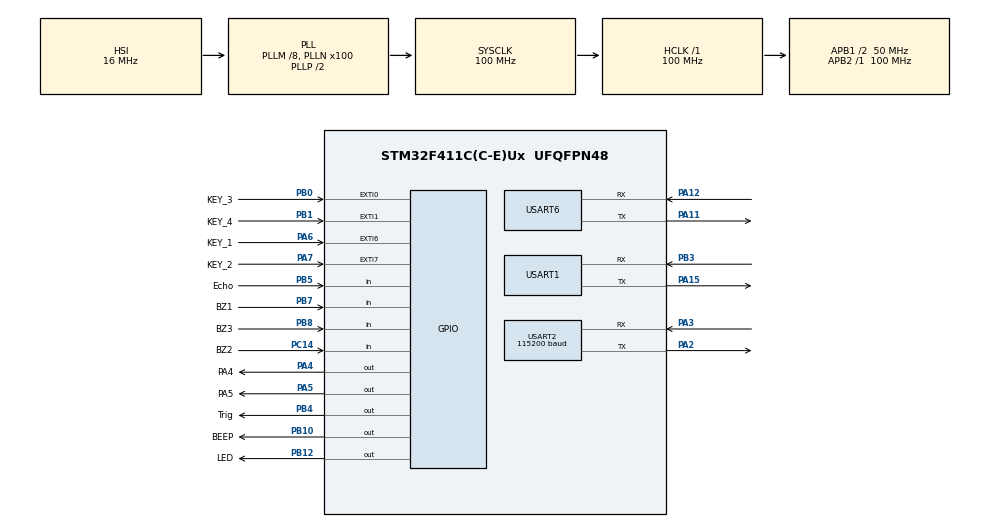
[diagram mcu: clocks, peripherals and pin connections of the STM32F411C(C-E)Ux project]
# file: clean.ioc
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Dma.Request0=USART2_RX
Dma.USART2_RX.0.Direction=DMA_PERIPH_TO_MEMORY
Dma.USART2_RX.0.FIFOMode=DMA_FIFOMODE_DISABLE
Dma.USART2_RX.0.Instance=DMA1_Stream5
Dma.USART2_RX.0.MemDataAlignment=DMA_MDATAALIGN_BYTE
Dma.USART2_RX.0.MemInc=DMA_MINC_ENABLE
Dma.USART2_RX.0.Mode=DMA_NORMAL
Dma.USART2_RX.0.PeriphDataAlignment=DMA_PDATAALIGN_BYTE
Dma.USART2_RX.0.PeriphInc=DMA_PINC_DISABLE
Dma.USART2_RX.0.Priority=DMA_PRIORITY_LOW
Mcu.Family=STM32F4
Mcu.Name=STM32F411C(C-E)Ux
Mcu.Package=UFQFPN48
NVIC.DMA1_Stream5_IRQn=true\:0\:0\:false\:false\:true\:false\:true\:true
NVIC.EXTI0_IRQn=true\:1\:0\:true\:false\:true\:true\:true\:true
NVIC.EXTI1_IRQn=true\:1\:0\:true\:false\:true\:true\:true\:true
NVIC.EXTI9_5_IRQn=true\:1\:0\:true\:false\:true\:true\:true\:true
NVIC.PriorityGroup=NVIC_PRIORITYGROUP_4
NVIC.TIM2_IRQn=true\:0\:0\:false\:false\:true\:true\:true\:true
NVIC.TIM3_IRQn=true\:0\:0\:false\:false\:true\:true\:true\:true
NVIC.USART1_IRQn=true\:0\:0\:false\:false\:true\:true\:true\:true
NVIC.USART2_IRQn=true\:0\:0\:false\:false\:true\:true\:true\:true
NVIC.USART6_IRQn=true\:0\:0\:false\:false\:true\:true\:true\:true
PA11.Mode=Asynchronous
PA11.Signal=USART6_TX
PA12.Mode=Asynchronous
PA12.Signal=USART6_RX
PA13.Mode=Serial_Wire
PA13.Signal=SYS_JTMS-SWDIO
PA14.Mode=Serial_Wire
PA14.Signal=SYS_JTCK-SWCLK
PA15.Mode=Asynchronous
PA15.Signal=USART1_TX
PA2.Mode=Asynchronous
PA2.Signal=USART2_TX
PA3.Mode=Asynchronous
PA3.Signal=USART2_RX
PA4.GPIO_Label=PA4
PA4.GPIO_ModeDefaultOutputPP=GPIO_MODE_OUTPUT_OD
PA4.GPIO_PuPd=GPIO_NOPULL
PA4.Signal=GPIO_Output
PA5.GPIO_Label=PA5
PA5.GPIO_ModeDefaultOutputPP=GPIO_MODE_OUTPUT_OD
PA5.GPIO_PuPd=GPIO_NOPULL
PA5.Signal=GPIO_Output
PA6.GPIO_Label=KEY_1
PA6.GPIO_ModeDefaultEXTI=GPIO_MODE_IT_RISING
PA6.GPIO_PuPd=GPIO_PULLDOWN
PA6.Signal=GPXTI6
PA7.GPIO_Label=KEY_2
PA7.GPIO_ModeDefaultEXTI=GPIO_MODE_IT_RISING
PA7.GPIO_PuPd=GPIO_PULLDOWN
PA7.Signal=GPXTI7
PB0.GPIO_Label=KEY_3
PB0.GPIO_ModeDefaultEXTI=GPIO_MODE_IT_RISING
PB0.GPIO_PuPd=GPIO_PULLDOWN
PB0.Signal=GPXTI0
PB1.GPIO_Label=KEY_4
PB1.GPIO_ModeDefaultEXTI=GPIO_MODE_IT_RISING
PB1.GPIO_PuPd=GPIO_PULLDOWN
PB1.Signal=GPXTI1
PB10.GPIO_Label=BEEP
PB10.GPIO_PuPd=GPIO_PULLDOWN
PB10.Signal=GPIO_Output
PB12.GPIO_Label=LED
PB12.Signal=GPIO_Output
PB3.Mode=Asynchronous
PB3.Signal=USART1_RX
PB4.GPIO_Label=Trig
PB4.Signal=GPIO_Output
PB5.GPIO_Label=Echo
PB5.Signal=GPIO_Input
PB7.GPIO_Label=BZ1
PB7.GPIO_PuPd=GPIO_PULLUP
PB7.Signal=GPIO_Input
PB8.GPIO_Label=BZ3
PB8.GPIO_PuPd=GPIO_PULLUP
PB8.Signal=GPIO_Input
PC14-OSC32_IN.GPIO_Label=BZ2
PC14-OSC32_IN.GPIO_PuPd=GPIO_PULLUP
PC14-OSC32_IN.Signal=GPIO_Input
PH0\ -\ OSC_IN.Mode=HSE-External-Oscillator
PH0\ -\ OSC_IN.Signal=RCC_OSC_IN
PH1\ -\ OSC_OUT.Mode=HSE-External-Oscillator
PH1\ -\ OSC_OUT.Signal=RCC_OSC_OUT
ProjectManager.HeapSize=0x200
ProjectManager.StackSize=0x400
ProjectManager.TargetToolchain=MDK-ARM V5.32
RCC.48MHZClocksFreq_Value=50000000
RCC.AHBFreq_Value=100000000
RCC.APB1CLKDivider=RCC_HCLK_DIV2
RCC.APB1Freq_Value=50000000
RCC.APB1TimFreq_Value=100000000
RCC.APB2Freq_Value=100000000
RCC.APB2TimFreq_Value=100000000
RCC.CortexFreq_Value=100000000
RCC.HCLKFreq_Value=100000000
RCC.HSE_VALUE=25000000
RCC.HSI_VALUE=16000000
RCC.LSE_VALUE=32768
RCC.PLLM=8
RCC.PLLN=100
RCC.SYSCLKFreq_VALUE=100000000
RCC.SYSCLKSource=RCC_SYSCLKSOURCE_PLLCLK
RCC.VCOOutputFreq_Value=200000000
TIM2.Period=9999
TIM2.Prescaler=9
TIM3.Period=9999
TIM3.Prescaler=9
USART1.VirtualMode=VM_ASYNC
USART2.BaudRate=115200
USART2.VirtualMode=VM_ASYNC
USART6.VirtualMode=VM_ASYNC
VP_TIM2_VS_ClockSourceINT.Mode=Internal
VP_TIM3_VS_ClockSourceINT.Mode=Internal
board=custom

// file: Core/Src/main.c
/* USER CODE BEGIN Header */
/**
  ******************************************************************************
  * @file           : main.c
  * @brief          : Main program body
  ******************************************************************************
  * @attention
  *
  * Copyright (c) 2025 STMicroelectronics.
  * All rights reserved.
  *
  * This software is licensed under terms that can be found in the LICENSE file
  * in the root directory of this software component.
  * If no LICENSE file comes with this software, it is provided AS-IS.
  *
  ******************************************************************************
  */
/* USER CODE END Header */
#include "main.h"
#include "dma.h"
#include "tim.h"
#include "usart.h"
#include "gpio.h"

/* USER CODE BEGIN Includes */
#include "debug.h"
#include "Imu.h"
#include "key.h"
#include "pid.h"
#include "OLED.h"
#include "Buzzer.h"
#include "distance.h"
#include "usart_2.h"
#include "math.h"
/* USER CODE END Includes */

/* USER CODE BEGIN PTD */
float Kp = 0.7;  // 比例增益
float Kd = 0.8;  // 微分增益
char RxBuffer[200],Rxcouter;
uint8_t Res;
int Usart1_Rx_Flag=0;
int Flag_ly=0;
int stop=0;
int index_1ms=0;
static uint8_t last_state_BZ2 = 1;  // 假设初始状态为高电平
static uint8_t last_state_BZ3 = 1;
static uint8_t last_state_BZ1 = 1;
void PD_update(int target_left, int target_right,
               float actual_left, float actual_right,
               float dt,
               float *output_left, float *output_right) ;
/* USER CODE END PTD */

void SystemClock_Config(void);

/* USER CODE BEGIN 0 */
void HAL_UART_RxCpltCallback(UART_HandleTypeDef *huart)

{
    if(huart->Instance == USART1)
    {
        UART1_RxCpltCallback(huart);
    }
		else if(huart->Instance == USART6)
		{
			RxBuffer[Rxcouter++] = Res;
			HAL_UART_Receive_IT(&huart6, (uint8_t *)&Res, 1);
			Usart1_Rx_Flag=1;
			if(Res=='a')
			{
				Flag_ly=1;
				stop=0;
			}
			else if(Res=='b')
			{
				Flag_ly=2;
				stop=0;
			}
			else if(Res=='c')
			{
				Flag_ly=3;
				stop=0;
			}
			else if(Res=='d')
			{
				Flag_ly=4;
				stop=0;
			}
			else if(Res=='e')
			{
				Flag_ly=5;
				stop=0;
			}
		}

}
/* USER CODE END 0 */

int main(void)
{

  /* MCU Configuration--------------------------------------------------------*/

  /* Reset of all peripherals, Initializes the Flash interface and the Systick. */
  HAL_Init();

  /* Configure the system clock */
  SystemClock_Config();

  /* Initialize all configured peripherals */
  MX_GPIO_Init();
  MX_DMA_Init();
  MX_USART1_UART_Init();
  MX_USART2_UART_Init();
  MX_TIM2_Init();
  MX_USART6_UART_Init();
  MX_TIM3_Init();
  /* USER CODE BEGIN 2 */

	USART2_Init();
//	Debug_Init();	//白色是高电平，为1，黑色是低电平，为2

	extern int IMU_flag;
	extern float Yaw;
	extern float Gyro;

	float Yaw_Init;
	float min_distance=70;
	float L=0.0;
	float T=0.0;
	float h=0.0;
	float a=0.0;
	int min_flag=0;
	int zhouqi_flag=0;
	int jishu_flag=0;
	int _2flag=0;
	int _1flag=0;
	int _3flag=0;
	int _4flag=0;
	int _5flag=0;
	int i=0;
	float L_raw;
	float a_sum=0.0;
	float a_ave=12.215470;
	float Gyro_max=0.0;
	extern uint8_t RxBuffer_2[RXBUFFERSIZE_2];
	extern uint8_t Uart_RxBuffer_2;
	HAL_TIM_Base_Start_IT(&htim3);

	OLED_Init();//OLED初始化
//	GW_analog_Init();
	IMU_Init();
	IMU_Proc();
	Yaw_Init=Yaw;

	uint16_t K210_data[10]={0};
	HAL_UART_Receive_IT(&huart6,&Res,1);
	HAL_TIM_Base_Start_IT(&htim2);

	extern float distance;
	extern float last_distance;
	extern float raw_distance;
//	uint8_t Problem_Flag = 0;
//	uint8_t Calibration_Flag;
//	DEBUG_info("Main Init",":over");
  /* USER CODE END 2 */

  /* Infinite loop */
  /* USER CODE BEGIN WHILE */
	UART6_SendString("start\r\n");//第一题
  while (1)
  {

		OLED_Update();
    OLED_Printf(0,0,OLED_8X16,"Imu:%f",Yaw);

		if(Flag_ly==1)//第二题
		{
			if(_1flag==0)
			{
				UART6_SendString("1_start\r\n");
				_1flag++;
			}

			get_distance();

			IMU_Proc();
//			if(Gyro>Gyro_max&&min_flag<5)
//			{
//				Gyro_max=Gyro;
//			}
			if(-2<Yaw&&Yaw<2&&min_flag<5)
			{
				min_distance=distance;
				min_flag++;
			}
      OLED_Printf(0,48,OLED_8X16,"min:%f",min_distance);

			if(-5.5<Yaw&&Yaw<1.5)
			{
				HAL_GPIO_WritePin(GPIOB,LED_Pin,GPIO_PIN_SET);
				delay_ms(10);
				HAL_GPIO_WritePin(GPIOB,LED_Pin,GPIO_PIN_RESET);

				L=L_raw+(67-min_distance-12.2)/100;
				char tempStr[10];
				sprintf(tempStr, "%f", L);
				UART6_SendString(tempStr);
				UART6_SendString("\r\n");
			}
		}
			if(Flag_ly==2)//第三题
			{
				if(_2flag==0)
				{
					UART6_SendString("2_start\r\n");
					_2flag++;
				}

				IMU_Proc();
				OLED_Printf(0,48,OLED_8X16,"Gyro:%f",Gyro);

				if(Gyro<10&&Gyro>-10)
				{
					if(zhouqi_flag %2 ==0)
					{
						index_1ms=0;
					}
					if(zhouqi_flag %2 ==1)
					{
						float raw_T=(float)index_1ms/1000*2;
						if(raw_T>1)
						{
							T=raw_T;
						}
//						T = 1.00;
					}
					zhouqi_flag++;
					HAL_GPIO_WritePin(GPIOB,LED_Pin,GPIO_PIN_SET);
					delay_ms(10);
					HAL_GPIO_WritePin(GPIOB,LED_Pin,GPIO_PIN_RESET);
					char tempStr2[10];
					sprintf(tempStr2, "%f", T);
					UART6_SendString(tempStr2);
					UART6_SendString("\r\n");
				}
			}
			if(Flag_ly==3)//第四题
			{
				if(_3flag==0)
				{
					UART6_SendString("3_start\r\n");
					_3flag++;
				}
				IMU_Proc();
				if(-5.5<Yaw&&Yaw<1.5)
				{
					get_distance2();
					h=68-L-12.2-distance;
			    OLED_Printf(0,32,OLED_8X16,"Gyro_max:%f",Gyro_max);

					a=atan(h/50.0)*180.00/3.14+2;
					if(a>8&&a<20)
					{
						a_sum+=a;
						i++;
						a_ave=a_sum/i;
					}
					char tempStr6[10];
					sprintf(tempStr6, "%f", distance);
					UART6_SendString("distance");
					UART6_SendString(tempStr6);
					UART6_SendString("\r\n");

					char tempStr3[10];
					sprintf(tempStr3, "%f", a);
					UART6_SendString("angle");
					UART6_SendString(tempStr3);
					UART6_SendString("\r\n");

					char tempStr5[10];
					sprintf(tempStr5, "%f", a_ave);
					UART6_SendString("ave_angle");
					UART6_SendString(tempStr5);
					UART6_SendString("\r\n");
				}
			}
			if(Flag_ly==4)//第五题
			{
				if(_4flag==0)
				{
					UART6_SendString("4_start\r\n");
					_4flag++;
				}
//					get_distance();
			if ((HAL_GPIO_ReadPin(BZ2_GPIO_Port, BZ2_Pin) == 0 && last_state_BZ2 == 1) ||
					(HAL_GPIO_ReadPin(GPIOB, BZ3_Pin) == 0 && last_state_BZ3 == 1) ||
					(HAL_GPIO_ReadPin(GPIOB, BZ1_Pin) == 0 && last_state_BZ1 == 1))
				{
					jishu_flag++;
					delay_ms(500);
				}
			last_state_BZ2 = HAL_GPIO_ReadPin(BZ2_GPIO_Port, BZ2_Pin);
			last_state_BZ3 = HAL_GPIO_ReadPin(GPIOB, BZ3_Pin);
			last_state_BZ1 = HAL_GPIO_ReadPin(GPIOB, BZ1_Pin);
				char tempStr4[10];
				sprintf(tempStr4, "%d", jishu_flag);
				UART6_SendString(tempStr4);
				UART6_SendString("\r\n");
			}
			if(Flag_ly==5)
			{
				if(_5flag==0)
				{
					UART6_SendString("IMU_init\r\n");
					_5flag++;
				}
				a_sum=0;
				a_ave=0;
				i=0;
				IMU_Init();
				min_distance=0;
				min_flag=0;
				_1flag=0;
				_2flag=0;
				_3flag=0;
				_4flag=0;
				jishu_flag=0;
				get_distance();
				L_raw=67-distance-12.2;

			}
		}
	}
    /* USER CODE END WHILE */

void SystemClock_Config(void)
{
  RCC_OscInitTypeDef RCC_OscInitStruct = {0};
  RCC_ClkInitTypeDef RCC_ClkInitStruct = {0};

  /** Configure the main internal regulator output voltage
  */
  __HAL_RCC_PWR_CLK_ENABLE();
  __HAL_PWR_VOLTAGESCALING_CONFIG(PWR_REGULATOR_VOLTAGE_SCALE1);

  /** Initializes the RCC Oscillators according to the specified parameters
  * in the RCC_OscInitTypeDef structure.
  */
  RCC_OscInitStruct.OscillatorType = RCC_OSCILLATORTYPE_HSI;
  RCC_OscInitStruct.HSIState = RCC_HSI_ON;
  RCC_OscInitStruct.HSICalibrationValue = RCC_HSICALIBRATION_DEFAULT;
  RCC_OscInitStruct.PLL.PLLState = RCC_PLL_ON;
  RCC_OscInitStruct.PLL.PLLSource = RCC_PLLSOURCE_HSI;
  RCC_OscInitStruct.PLL.PLLM = 8;
  RCC_OscInitStruct.PLL.PLLN = 100;
  RCC_OscInitStruct.PLL.PLLP = RCC_PLLP_DIV2;
  RCC_OscInitStruct.PLL.PLLQ = 4;
  if (HAL_RCC_OscConfig(&RCC_OscInitStruct) != HAL_OK)
  {
    Error_Handler();
  }

  /** Initializes the CPU, AHB and APB buses clocks
  */
  RCC_ClkInitStruct.ClockType = RCC_CLOCKTYPE_HCLK|RCC_CLOCKTYPE_SYSCLK
                              |RCC_CLOCKTYPE_PCLK1|RCC_CLOCKTYPE_PCLK2;
  RCC_ClkInitStruct.SYSCLKSource = RCC_SYSCLKSOURCE_PLLCLK;
  RCC_ClkInitStruct.AHBCLKDivider = RCC_SYSCLK_DIV1;
  RCC_ClkInitStruct.APB1CLKDivider = RCC_HCLK_DIV2;
  RCC_ClkInitStruct.APB2CLKDivider = RCC_HCLK_DIV1;

  if (HAL_RCC_ClockConfig(&RCC_ClkInitStruct, FLASH_LATENCY_3) != HAL_OK)
  {
    Error_Handler();
  }
}

/* USER CODE BEGIN 4 */
float prev_error_left = 0.0;
float prev_error_right = 0.0;
void PD_update(int target_left, int target_right,
               float actual_left, float actual_right,
               float dt,
               float *output_left, float *output_right) {

    // 计算左右电机的误差
    float error_left = target_left - actual_left;
    float error_right = target_right - actual_right;

    // 计算微分项
    float derivative_left = (error_left - prev_error_left) / dt;
    float derivative_right = (error_right - prev_error_right) / dt;

    // 计算 PD 控制输出
    *output_left = Kp * error_left + Kd * derivative_left;
    *output_right = Kp * error_right + Kd * derivative_right;

    // 保存当前误差，供下次计算微分项使用
    prev_error_left = error_left;
    prev_error_right = error_right;
}
/* USER CODE END 4 */

void Error_Handler(void)
{
  __disable_irq();
  while (1)
  {
  }
}
